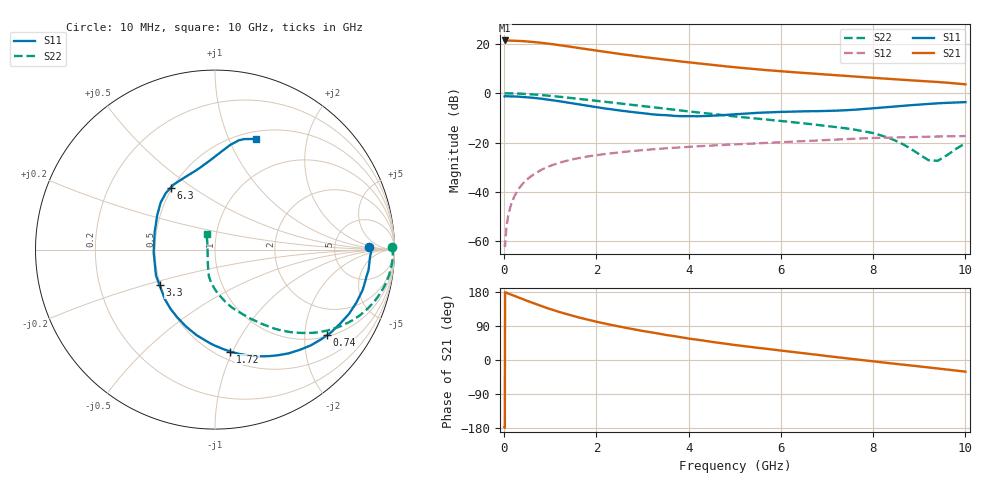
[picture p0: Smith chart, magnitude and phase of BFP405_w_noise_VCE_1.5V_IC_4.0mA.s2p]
! Infineon Technologies  Discrete & RF Semiconductors
! BFP405
! VCE =  1.5 V,  IC =  4.0 mA
! Common Emitter S-Parameters:  Jan 2016
# GHz  S  MA  R  50
!  f  S11  S21  S12  S22
! GHz  MAG  ANG  MAG  ANG  MAG  ANG  MAG  ANG
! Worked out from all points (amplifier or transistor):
!   233 points, 10 MHz to 10 GHz, reference 50 ohm
!   highest |S21| = 21.3 dB at 10 MHz (marker M1)
!   |S21| within 3 dB of that: start of sweep to 1.603 GHz
!   unconditionally stable (mu >= 1): start of sweep to 10.96 MHz; 3.591 GHz to end of sweep
!   at 200 MHz: K = 0.08, MSG = 32.0 dB, |S12| = -42.7 dB
!   at 1.74 GHz: K = 0.49, MSG = 21.9 dB, |S12| = -25.9 dB
!   at 10 GHz: K = 1.51, MAG = 6.2 dB, |S12| = -17.4 dB
!   lowest NFmin = 1.10 dB at 900 MHz
!   S11 on the Smith chart (normalised r, x): 10 MHz: 13, +2; 740 MHz: 1.04, -2.59; 1.72 GHz: 0.58, -0.98; 3.3 GHz: 0.49, -0.23; 6.3 GHz: 0.49, +0.41; 10 GHz: 0.58, +1.27
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0.01  0.8599 1.0  11.66 -177.3  0.0009 30.4  0.9876 0.9
0.02  0.8702 -0.9  11.58 178.6  0.0008 78.3  0.9894 -0.2
0.085  0.8635 -4.3  11.57 175.7  0.0032 88.5  0.9917 -2.2
0.22  0.8558 -11.3  11.52 169.2  0.0081 84.3  0.9846 -5.9
0.5  0.8282 -25.6  11.15 156.1  0.0181 77.5  0.9612 -13.1
0.74  0.7855 -37.4  10.6 145.3  0.026 71.3  0.9273 -18.9
0.9  0.7542 -45.1  10.21 138.3  0.0309 67.7  0.9007 -22.6
1.16  0.6955 -57.1  9.482 128.1  0.0381 62.2  0.8531 -28.0
1.68  0.5825 -79.8  8.046 110.3  0.0497 53.2  0.7554 -37.1
1.72  0.5744 -81.4  7.94 109.1  0.0505 52.6  0.7482 -37.7
2  0.5211 -93.3  7.258 101.0  0.0556 48.7  0.6996 -41.6
2.42  0.4572 -110.9  6.381 90.1  0.0622 43.7  0.6329 -46.8
2.84  0.4088 -128.3  5.664 80.3  0.0682 39.4  0.5721 -51.4
3.3  0.3668 -147.3  5.011 70.8  0.074 35.2  0.5101 -56.0
3.4  0.3618 -151.8  4.886 68.6  0.0752 34.3  0.4972 -57.1
4  0.3422 -177.5  4.209 56.6  0.0821 29.5  0.4272 -63.3
5.1  0.3788 147.2  3.28 38.1  0.0928 21.6  0.3311 -74.3
6.3  0.4237 125.8  2.646 20.7  0.1048 14.4  0.2563 -84.4
6.8  0.4322 116.5  2.447 13.5  0.1104 11.2  0.2277 -89.0
8.4  0.5318 88.3  1.929 -9.0  0.1266 -1.2  0.1182 -108.6
9.4  0.6232 77.7  1.683 -22.7  0.1327 -8.7  0.0427 166.4
10  0.6583 69.5  1.51 -30.7  0.1354 -12.5  0.0969 118.8
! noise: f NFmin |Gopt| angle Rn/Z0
0.9  1.1  0.42  13  0.34
1.8  1.39  0.33  21  0.32
2.4  1.55  0.28  31  0.32
3  1.58  0.26  47  0.29
4  1.76  0.14  70  0.25
5  2.11  0.09  124  0.22
